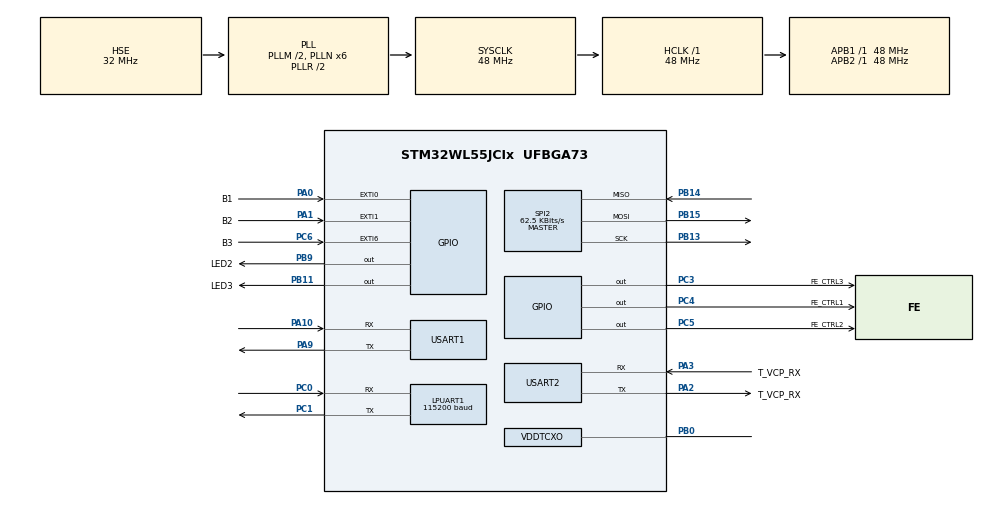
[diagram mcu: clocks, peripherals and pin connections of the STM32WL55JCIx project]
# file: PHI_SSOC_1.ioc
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ADC.Channel-0\#ChannelRegularConversion=ADC_CHANNEL_TEMPSENSOR
ADC.EnableRegularConversion=ENABLE
ADC.NbrOfConversion=1
ADC.NbrOfConversionFlag=1
ADC.Rank-0\#ChannelRegularConversion=1
ADC.SamplingTime-0\#ChannelRegularConversion=ADC_SAMPLINGTIME_COMMON_1
ADC.SamplingTimeCommon1=ADC_SAMPLETIME_160CYCLES_5
ADC.SelectedChannel=ADC_CHANNEL_TEMPSENSOR
Dma.LPUART1_RX.2.Channel_PRIV_NPRIV=DMA_CHANNEL_NPRIV_DISABLE
Dma.LPUART1_RX.2.Direction=DMA_PERIPH_TO_MEMORY
Dma.LPUART1_RX.2.EventEnable=DISABLE
Dma.LPUART1_RX.2.Instance=DMA1_Channel3
Dma.LPUART1_RX.2.MemDataAlignment=DMA_MDATAALIGN_BYTE
Dma.LPUART1_RX.2.MemInc=DMA_MINC_ENABLE
Dma.LPUART1_RX.2.Mode=DMA_NORMAL
Dma.LPUART1_RX.2.PeriphDataAlignment=DMA_PDATAALIGN_BYTE
Dma.LPUART1_RX.2.PeriphInc=DMA_PINC_DISABLE
Dma.LPUART1_RX.2.Polarity=HAL_DMAMUX_REQ_GEN_RISING
Dma.LPUART1_RX.2.Priority=DMA_PRIORITY_LOW
Dma.LPUART1_RX.2.RequestNumber=1
Dma.LPUART1_RX.2.SignalID=NONE
Dma.LPUART1_RX.2.SyncEnable=DISABLE
Dma.LPUART1_RX.2.SyncPolarity=HAL_DMAMUX_SYNC_NO_EVENT
Dma.LPUART1_RX.2.SyncRequestNumber=1
Dma.LPUART1_RX.2.SyncSignalID=NONE
Dma.LPUART1_TX.3.Channel_PRIV_NPRIV=DMA_CHANNEL_NPRIV_DISABLE
Dma.LPUART1_TX.3.Direction=DMA_MEMORY_TO_PERIPH
Dma.LPUART1_TX.3.EventEnable=DISABLE
Dma.LPUART1_TX.3.Instance=DMA1_Channel4
Dma.LPUART1_TX.3.MemDataAlignment=DMA_MDATAALIGN_BYTE
Dma.LPUART1_TX.3.MemInc=DMA_MINC_ENABLE
Dma.LPUART1_TX.3.Mode=DMA_NORMAL
Dma.LPUART1_TX.3.PeriphDataAlignment=DMA_PDATAALIGN_BYTE
Dma.LPUART1_TX.3.PeriphInc=DMA_PINC_DISABLE
Dma.LPUART1_TX.3.Polarity=HAL_DMAMUX_REQ_GEN_RISING
Dma.LPUART1_TX.3.Priority=DMA_PRIORITY_LOW
Dma.LPUART1_TX.3.RequestNumber=1
Dma.LPUART1_TX.3.SignalID=NONE
Dma.LPUART1_TX.3.SyncEnable=DISABLE
Dma.LPUART1_TX.3.SyncPolarity=HAL_DMAMUX_SYNC_NO_EVENT
Dma.LPUART1_TX.3.SyncRequestNumber=1
Dma.LPUART1_TX.3.SyncSignalID=NONE
Dma.Request0=USART1_RX
Dma.Request1=USART1_TX
Dma.Request2=LPUART1_RX
Dma.Request3=LPUART1_TX
Dma.USART1_RX.0.Channel_PRIV_NPRIV=DMA_CHANNEL_NPRIV_DISABLE
Dma.USART1_RX.0.Direction=DMA_PERIPH_TO_MEMORY
Dma.USART1_RX.0.EventEnable=DISABLE
Dma.USART1_RX.0.Instance=DMA1_Channel1
Dma.USART1_RX.0.MemDataAlignment=DMA_MDATAALIGN_BYTE
Dma.USART1_RX.0.MemInc=DMA_MINC_ENABLE
Dma.USART1_RX.0.Mode=DMA_NORMAL
Dma.USART1_RX.0.PeriphDataAlignment=DMA_PDATAALIGN_BYTE
Dma.USART1_RX.0.PeriphInc=DMA_PINC_DISABLE
Dma.USART1_RX.0.Polarity=HAL_DMAMUX_REQ_GEN_RISING
Dma.USART1_RX.0.Priority=DMA_PRIORITY_LOW
Dma.USART1_RX.0.RequestNumber=1
Dma.USART1_RX.0.SignalID=NONE
Dma.USART1_RX.0.SyncEnable=DISABLE
Dma.USART1_RX.0.SyncPolarity=HAL_DMAMUX_SYNC_NO_EVENT
Dma.USART1_RX.0.SyncRequestNumber=1
Dma.USART1_RX.0.SyncSignalID=NONE
Dma.USART1_TX.1.Channel_PRIV_NPRIV=DMA_CHANNEL_NPRIV_DISABLE
Dma.USART1_TX.1.Direction=DMA_MEMORY_TO_PERIPH
Dma.USART1_TX.1.EventEnable=DISABLE
Dma.USART1_TX.1.Instance=DMA1_Channel2
Dma.USART1_TX.1.MemDataAlignment=DMA_MDATAALIGN_BYTE
Dma.USART1_TX.1.MemInc=DMA_MINC_ENABLE
Dma.USART1_TX.1.Mode=DMA_NORMAL
Dma.USART1_TX.1.PeriphDataAlignment=DMA_PDATAALIGN_BYTE
Dma.USART1_TX.1.PeriphInc=DMA_PINC_DISABLE
Dma.USART1_TX.1.Polarity=HAL_DMAMUX_REQ_GEN_RISING
Dma.USART1_TX.1.Priority=DMA_PRIORITY_LOW
Dma.USART1_TX.1.RequestNumber=1
Dma.USART1_TX.1.SignalID=NONE
Dma.USART1_TX.1.SyncEnable=DISABLE
Dma.USART1_TX.1.SyncPolarity=HAL_DMAMUX_SYNC_NO_EVENT
Dma.USART1_TX.1.SyncRequestNumber=1
Dma.USART1_TX.1.SyncSignalID=NONE
LPUART1.BaudRate=115200
Mcu.Family=STM32WL
Mcu.Name=STM32WL55JCIx
Mcu.Package=UFBGA73
NVIC.DMA1_Channel1_IRQn=true\:0\:0\:false\:false\:true\:false\:true\:true
NVIC.DMA1_Channel2_IRQn=true\:0\:0\:false\:false\:true\:false\:true\:true
NVIC.DMA1_Channel3_IRQn=true\:0\:0\:false\:false\:true\:false\:true\:true
NVIC.DMA1_Channel4_IRQn=true\:0\:0\:false\:false\:true\:false\:true\:true
NVIC.LPUART1_IRQn=true\:0\:0\:false\:false\:true\:true\:true\:true
NVIC.PriorityGroup=NVIC_PRIORITYGROUP_4
NVIC.SUBGHZ_Radio_IRQn=true\:0\:0\:false\:false\:true\:true\:true\:true
NVIC.USART1_IRQn=true\:0\:0\:false\:false\:true\:true\:true\:true
OSC_IN.Mode=HSE-TCXO
OSC_IN.Signal=RCC_OSC_IN
PA0.GPIO_Label=B1
PA0.GPIO_ModeDefaultEXTI=GPIO_MODE_IT_FALLING
PA0.GPIO_PuPd=GPIO_PULLUP
PA0.Signal=GPXTI0
PA1.GPIO_Label=B2
PA1.GPIO_ModeDefaultEXTI=GPIO_MODE_IT_FALLING
PA1.GPIO_PuPd=GPIO_PULLUP
PA1.Signal=GPXTI1
PA10.Mode=Asynchronous
PA10.Signal=USART1_RX
PA13.Mode=Serial_Wire
PA13.Signal=DEBUG_JTMS-SWDIO
PA14.Mode=Serial_Wire
PA14.Signal=DEBUG_JTCK-SWCLK
PA2.GPIO_Label=T_VCP_RX
PA2.Mode=Asynchronous
PA2.Signal=USART2_TX
PA3.GPIO_Label=T_VCP_RX
PA3.Mode=Asynchronous
PA3.Signal=USART2_RX
PA9.Mode=Asynchronous
PA9.Signal=USART1_TX
PB0-VDD_TCXO.Mode=HSE-TCXO
PB0-VDD_TCXO.Signal=VDDTCXO
PB11.GPIO_Label=LED3
PB11.GPIO_Speed=GPIO_SPEED_FREQ_HIGH
PB11.Signal=GPIO_Output
PB13.Mode=Full_Duplex_Master
PB13.Signal=SPI2_SCK
PB14.Mode=Full_Duplex_Master
PB14.Signal=SPI2_MISO
PB15.Mode=Full_Duplex_Master
PB15.Signal=SPI2_MOSI
PB9.GPIO_FM9=__NULL
PB9.GPIO_Label=LED2
PB9.GPIO_Speed=GPIO_SPEED_FREQ_HIGH
PB9.Signal=GPIO_Output
PC0.Mode=Asynchronous
PC0.Signal=LPUART1_RX
PC1.Mode=Asynchronous
PC1.Signal=LPUART1_TX
PC14-OSC32_IN.Signal=RCC_OSC32_IN
PC15-OSC32_OUT.Signal=RCC_OSC32_OUT
PC3.GPIO_Label=FE_CTRL3
PC3.GPIO_Speed=GPIO_SPEED_FREQ_VERY_HIGH
PC3.Signal=GPIO_Output
PC4.GPIO_Label=FE_CTRL1
PC4.GPIO_Speed=GPIO_SPEED_FREQ_VERY_HIGH
PC4.Signal=GPIO_Output
PC5.GPIO_Label=FE_CTRL2
PC5.GPIO_Speed=GPIO_SPEED_FREQ_VERY_HIGH
PC5.Signal=GPIO_Output
PC6.GPIO_Label=B3
PC6.GPIO_ModeDefaultEXTI=GPIO_MODE_IT_FALLING
PC6.GPIO_PuPd=GPIO_PULLUP
PC6.Signal=GPXTI6
ProjectManager.HeapSize=0x200
ProjectManager.StackSize=0x400
ProjectManager.TargetToolchain=STM32CubeIDE
RCC.AHBFreq_Value=48000000
RCC.APB1Freq_Value=48000000
RCC.APB1TimFreq_Value=48000000
RCC.APB2Freq_Value=48000000
RCC.APB2TimFreq_Value=48000000
RCC.APB3Freq_Value=48000000
RCC.CortexFreq_Value=48000000
RCC.HCLKFreq_Value=48000000
RCC.HSE_VALUE=32000000
RCC.HSI_VALUE=16000000
RCC.LSE_VALUE=32768
RCC.MSIClockRange=RCC_MSIRANGE_11
RCC.PLLM=RCC_PLLM_DIV2
RCC.PLLN=6
RCC.PLLSourceVirtual=RCC_PLLSOURCE_HSE
RCC.SYSCLKFreq_VALUE=48000000
RCC.SYSCLKSource=RCC_SYSCLKSOURCE_PLLCLK
RCC.VCOOutputFreq_Value=96000000
SPI2.BaudRatePrescaler=SPI_BAUDRATEPRESCALER_256
SPI2.CalculateBaudRate=62.5 KBits/s
SPI2.DataSize=SPI_DATASIZE_8BIT
SPI2.Direction=SPI_DIRECTION_2LINES
SPI2.Mode=SPI_MODE_MASTER
SPI2.VirtualType=VM_MASTER
TIM1.Period=1000-1
TIM1.Prescaler=48-1
USART1.VirtualMode-Asynchronous=VM_ASYNC
USART2.VirtualMode-Asynchronous=VM_ASYNC
VP_ADC_TempSens_Input.Mode=IN-TempSens
VP_ADV_TRACE_VS_ADV_TRACE.Mode=ADV_TRACE_Enabled
VP_MISC_VS_MISC.Mode=MISC_Enabled
VP_RTC_VS_RTC_Activate.Mode=RTC_Enabled
VP_RTC_VS_RTC_Calendar.Mode=RTC_Calendar
VP_SEQUENCER_M4_VS_SEQUENCER.Mode=SEQUENCER_Enabled
VP_SUBGHZ_PHY_VS_SubGhzPhy.Mode=SubGhzPhy_Enabled
VP_SUBGHZ_VS_SUBGHZ.Mode=SUBGHZ_Activate
VP_TIM1_VS_ClockSourceINT.Mode=Internal
VP_TIMER_VS_TIMER.Mode=TIMER_Enabled
VP_TINY_LPM_VS_TINY_LPM.Mode=TINY_LPM_Enabled
board=NUCLEO-WL55JC2

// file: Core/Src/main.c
/* USER CODE BEGIN Header */
/**
 ******************************************************************************
 * @file           : main.c
 * @brief          : Main program body
 ******************************************************************************
 * @attention
 *
 * Copyright (c) 2024 STMicroelectronics.
 * All rights reserved.
 *
 * This software is licensed under terms that can be found in the LICENSE file
 * in the root directory of this software component.
 * If no LICENSE file comes with this software, it is provided AS-IS.
 *
 ******************************************************************************
 */
/* USER CODE END Header */
#include "main.h"
#include "app_subghz_phy.h"

/* USER CODE BEGIN Includes */
#include "radio_driver.h"
#include "com_debug.h"
#include "obc_interface.h"
#include "rtc.h"
#include "adc.h"
#include "flash_memory.h"
/* USER CODE END Includes */

/* USER CODE BEGIN PTD */
#define PayLoadLength		(32)

#define FREQ_433_MHZ            (433000000)

#define PA_DUTY_CYCLE           (0x04)
#define HP_MAX                  (0x07)
#define PA_SEL                  (0x00)

#define POWER                   (0x16)
#define RAMP_TIME               (0x06)
/* USER CODE END PTD */

ADC_HandleTypeDef hadc;

UART_HandleTypeDef hlpuart1;
UART_HandleTypeDef huart1;
UART_HandleTypeDef huart2;
DMA_HandleTypeDef hdma_lpuart1_rx;
DMA_HandleTypeDef hdma_lpuart1_tx;
DMA_HandleTypeDef hdma_usart1_rx;
DMA_HandleTypeDef hdma_usart1_tx;

RTC_HandleTypeDef hrtc;

SPI_HandleTypeDef hspi2;

SUBGHZ_HandleTypeDef hsubghz;

TIM_HandleTypeDef htim1;

/* USER CODE BEGIN PV */
uint8_t OBC_HANDSHAKE_FLAG = 0;

uint8_t pkt_id;
DEVICE_ID FM_ID;
uint32_t present_address;

uint8_t txBuffer[PayLoadLength];
uint8_t rxData[PayLoadLength];

uint32_t NACK = 0xFAACEEF;
uint32_t MSN_CMP = 0xFACACAAF;

uint8_t END_MSN[10];
uint8_t MSN_ERR[10];
/* USER CODE END PV */

void SystemClock_Config(void);
static void MX_GPIO_Init(void);
static void MX_DMA_Init(void);
static void MX_USART2_UART_Init(void);
static void MX_USART1_UART_Init(void);
static void MX_TIM1_Init(void);
static void MX_LPUART1_UART_Init(void);
static void MX_RTC_Init(void);
static void MX_ADC_Init(void);
static void MX_SPI2_Init(void);
/* USER CODE BEGIN PFP */
void setDataToBeTransmitted();
void DioIrqHndlr(RadioIrqMasks_t radioIrq);
void EOM();
void MSN_Error();
/* USER CODE END PFP */

/* USER CODE BEGIN 0 */
void setDataToBeTransmitted() {
	uint8_t temp_count = 0;
	uint8_t temp_sensor[30];

	setTime(MAIN_CMD[8], MAIN_CMD[9], MAIN_CMD[10], MAIN_CMD[11], MAIN_CMD[12],
			MAIN_CMD[13]);

	while (temp_count < 30) {
		if (ReadTemperature() > 0)
			temp_sensor[temp_count] = ReadTemperature();
		delay_us(10);
		temp_count++;
	}

	getTime();

	txBuffer[0] = 0xBA;
	txBuffer[1] = 0x01;
	txBuffer[2] = pkt_id;
	txBuffer[3] = gDate.Year;
	txBuffer[4] = gDate.Month;
	txBuffer[5] = gDate.WeekDay;
	txBuffer[6] = gTime.Hours;
	txBuffer[7] = gTime.Minutes;
	txBuffer[8] = gTime.Seconds;
	int j = 0;
	for (int i = 9; i <= 28; i += 2) {
		txBuffer[i] = 0xDA;
		txBuffer[i + 1] = temp_sensor[j];
		j++;
	}
	uint16_t _HK_SUM = 0;
	for (int i = 0; i <= 28; i++) {
		_HK_SUM += txBuffer[i];
	}
	txBuffer[29] = _HK_SUM >> 8;
	txBuffer[30] = _HK_SUM;
	txBuffer[31] = 0xFE;
	myDebug("### Data to be transmitted:\n");
	for (int i = 0; i < PayLoadLength; i++) {
		myDebug("%x ", txBuffer[i]);
	}
	myDebug("\n");
}

void EOM() {
	//add ACK and Latest mission FM address
	END_MSN[0] = 0xBA;
	END_MSN[1] = MSN_CMP >> 24;
	END_MSN[2] = MSN_CMP >> 16;

	END_MSN[3] = MSN_CMP >> 8;

	END_MSN[4] = MSN_CMP;

	//SEND NEW FM ADDRESS;
	END_MSN[5] = MAIN_ADDR >> 24;
	END_MSN[6] = MAIN_ADDR >> 16;
	END_MSN[7] = MAIN_ADDR >> 8;
	END_MSN[8] = MAIN_ADDR;
	END_MSN[9] = 0xFE;

	// END of Mission
	HAL_UART_Transmit(&huart1, END_MSN, 10, 1000);
	myDebug("### Sent End of mission data: ");
	for (int i = 0; i < 10; i++) {
		myDebug("%x", END_MSN[i]);
	}
	myDebug("\n");
	myDebug("--> LoRa_Mission_Execution Complete and Packet count is %x\r\n",
			pkt_id);
	memset(END_MSN, '\0', 10);
}

void MSN_Error() {
	MSN_ERR[0] = 0xBA;
	MSN_ERR[1] = NACK >> 24;
	MSN_ERR[2] = NACK >> 16;

	MSN_ERR[3] = NACK >> 8;

	MSN_ERR[4] = NACK;

//SEND NEW FM ADDRESS;
	MSN_ERR[5] = MAIN_ADDR >> 24;
	MSN_ERR[6] = MAIN_ADDR >> 16;
	MSN_ERR[7] = MAIN_ADDR >> 8;
	MSN_ERR[8] = MAIN_ADDR;
	MSN_ERR[9] = 0xFE;

// Error of Mission
	myDebug("###  Mission error occurred! ");
	HAL_UART_Transmit(&huart1, MSN_ERR, 10, 1000);
	myDebug("### Sent Mission error data: ");
	for (int i = 0; i < 10; i++) {
		myDebug("%x", MSN_ERR[i]);
	}
	myDebug("\n");
	myDebug("#### MAIN and LoRa MCU ACK FAILED___ Please RESET #### \n ");
	memset(MSN_ERR, '\0', 10);
}

void HAL_UART_RxCpltCallback(UART_HandleTypeDef *huart) {
	if (huart == &hlpuart1) {

		uint16_t _HK_SUM_Check = 0;
		for (int i = 0; i <= 28; i++) {
			_HK_SUM_Check += rxData[i];
		}

		uint8_t crc[2];
		crc[0] = _HK_SUM_Check >> 8;
		crc[1] = _HK_SUM_Check;

		if (crc[0] == txBuffer[29] && crc[1] == txBuffer[30]) {
			Read_ID(&hspi2, &FM_ID);
			delay_us(1);

			present_address = MAIN_ADDR;

			myDebug("### Storing HK Data in : 0x%x \n", present_address);
			Page_Write(&hspi2, present_address, txBuffer, PayLoadLength);
			delay_us(1);
			myDebug("### Checking if data is stored or not, in : 0x%x \n",
					present_address);
			myDebug("--> Stored Data : \n");
			Bulk_Read(&hspi2, present_address, rxData, PayLoadLength);
			delay_us(1);
			for (int i = 0; i < PayLoadLength; i++) {
				myDebug("%x ", rxData[i]);
			}
			myDebug("\n");
			MAIN_ADDR += 32;
			pkt_id++;
			EOM();
			memset(txBuffer, '\0', PayLoadLength);
			memset(rxData, '\0', PayLoadLength);
			memset(MAIN_CMD, '\0', 15);
			delay_us(999);
			delay_us(999);
		} else {
			myDebug("### Data error occurred:\n");
			for (int i = 0; i < PayLoadLength; i++) {
				myDebug("%x ", rxData[i]);
			}
			myDebug("\n");
			Error_Handler();
		}
	}
}
/* USER CODE END 0 */

int main(void)
{

  /* MCU Configuration--------------------------------------------------------*/

  /* Reset of all peripherals, Initializes the Flash interface and the Systick. */
  HAL_Init();

  /* Configure the system clock */
  SystemClock_Config();

  /* Initialize all configured peripherals */
  MX_GPIO_Init();
  MX_DMA_Init();
  MX_USART2_UART_Init();
  MX_SubGHz_Phy_Init();
  MX_USART1_UART_Init();
  MX_TIM1_Init();
  MX_LPUART1_UART_Init();
  MX_RTC_Init();
  MX_ADC_Init();
  MX_SPI2_Init();
  /* USER CODE BEGIN 2 */

	HAL_TIM_Base_Start(&htim1);

	myDebug("\n########## Wait for Handshake ##########\r\n");
	while (OBC_HANDSHAKE_FLAG == 0) {
		WAIT_FOR_HANDSHAKE();
	}

	myDebug("__________LoRa Starting.......###\r\n\n");
	pkt_id = 0;

  /* USER CODE END 2 */

  /* Infinite loop */
	while (1) {
    MX_SubGHz_Phy_Process();

    /* USER CODE BEGIN 3 */

		if (OBC_HANDSHAKE_FLAG == 1) {
			myDebug("### Waiting to receive CMD from OBC.....\n");
			Receive_MAIN_CMD();
			delay_us(1);
			Execute_MAIN_CMD();
			delay_us(1);
			myDebug("--> MCU_ID: 0x%x\n", MCU_ID);
			myDebug("--> Flash address: 0x%x\n", MAIN_ADDR);
			myDebug("--> Mission Time %d/%d/%d %d:%d:%d \n", MAIN_CMD[8],
					MAIN_CMD[9], MAIN_CMD[10], MAIN_CMD[11], MAIN_CMD[12],
					MAIN_CMD[13]);

			setDataToBeTransmitted();

			PacketParams_t pkt_params;
			pkt_params.PacketType = PACKET_TYPE_LORA;
			pkt_params.Params.LoRa.PayloadLength = PayLoadLength;
			pkt_params.Params.LoRa.PreambleLength = 8;
			pkt_params.Params.LoRa.HeaderType = LORA_PACKET_IMPLICIT;
			pkt_params.Params.LoRa.CrcMode = LORA_CRC_ON;
			pkt_params.Params.LoRa.InvertIQ = LORA_IQ_NORMAL;

			ModulationParams_t mod_params;
			mod_params.PacketType = PACKET_TYPE_LORA;
			mod_params.Params.LoRa.Bandwidth = LORA_BW_031;
			mod_params.Params.LoRa.SpreadingFactor = LORA_SF10;
			mod_params.Params.LoRa.CodingRate = LORA_CR_4_8;
			mod_params.Params.LoRa.LowDatarateOptimize = 0;

			SUBGRF_Init(DioIrqHndlr);
			SUBGRF_SetBufferBaseAddress(0x00, 0x00);
			SUBGRF_SetPayload(txBuffer, PayLoadLength);
			SUBGRF_SetPacketParams(&pkt_params);
			SUBGRF_SetSyncWord(( uint8_t[] ) { 0xC1, 0x94, 0xC1, 0x00, 0x00,
							0x00, 0x00, 0x00 });
			SUBGRF_SetWhiteningSeed(0x01FF);
			SUBGRF_SetRfFrequency(FREQ_433_MHZ);
			SUBGRF_SetPaConfig(PA_DUTY_CYCLE, HP_MAX, PA_SEL, 0x01);
			SUBGRF_SetTxParams(RFO_HP, POWER, RAMP_TIME);
			SUBGRF_SetModulationParams(&mod_params);
			SUBGRF_SetDioIrqParams(
					IRQ_TX_DONE | IRQ_PREAMBLE_DETECTED | IRQ_RX_DONE
							| IRQ_RX_TX_TIMEOUT | IRQ_SYNCWORD_VALID,
					IRQ_TX_DONE | IRQ_PREAMBLE_DETECTED | IRQ_RX_DONE
							| IRQ_RX_TX_TIMEOUT | IRQ_SYNCWORD_VALID,
					IRQ_RADIO_NONE, IRQ_RADIO_NONE);

			myDebug("########## COMMUNICATION PARAMETERS: 		##########\r\n");
			myDebug("Modulation: LoRa PACKET\r\n");
			myDebug("FREQUENCY : %lu\r\n", FREQ_433_MHZ);
			myDebug(
					"POWER CONFIG:\r\n    PA_DUTY_CYCLE : %x,    HP_MAX: %x,\n\r    PA_SEL : %x,    POWER TX: %u dBm\n\r",
					PA_DUTY_CYCLE, HP_MAX, PA_SEL, POWER);
			myDebug("RECEVING BANDWIDTH: 	%d\n\r",
					mod_params.Params.LoRa.Bandwidth);
			myDebug("Packet Type: 			%d\n\r", pkt_params.PacketType);
			myDebug("PayloadLength: 		%d\n\r",
					pkt_params.Params.LoRa.PayloadLength);
			myDebug("PreambleLength: 		%d\n\r",
					pkt_params.Params.LoRa.PreambleLength);
			myDebug("HeaderType: 			%d\n\r", pkt_params.Params.LoRa.HeaderType);
			myDebug("__________________________________________________\r\n");
			myDebug(
					"________________LoRa Transmitting to SSOC_2____________\r\n");

			SUBGRF_SetRfFrequency(FREQ_433_MHZ);
			SUBGRF_SetSwitch(RFO_HP, RFSWITCH_TX); /*Set RF switch*/
			SUBGRF_SendPayload(txBuffer, 32, 0);
		}

	}
  /* USER CODE END 3 */
}

void SystemClock_Config(void)
{
  RCC_OscInitTypeDef RCC_OscInitStruct = {0};
  RCC_ClkInitTypeDef RCC_ClkInitStruct = {0};

  /** Configure the main internal regulator output voltage
  */
  __HAL_PWR_VOLTAGESCALING_CONFIG(PWR_REGULATOR_VOLTAGE_SCALE1);

  /** Initializes the CPU, AHB and APB buses clocks
  */
  RCC_OscInitStruct.OscillatorType = RCC_OSCILLATORTYPE_HSI|RCC_OSCILLATORTYPE_LSI
                              |RCC_OSCILLATORTYPE_HSE;
  RCC_OscInitStruct.HSEState = RCC_HSE_BYPASS_PWR;
  RCC_OscInitStruct.HSIState = RCC_HSI_ON;
  RCC_OscInitStruct.HSICalibrationValue = RCC_HSICALIBRATION_DEFAULT;
  RCC_OscInitStruct.LSIDiv = RCC_LSI_DIV1;
  RCC_OscInitStruct.HSEDiv = RCC_HSE_DIV1;
  RCC_OscInitStruct.LSIState = RCC_LSI_ON;
  RCC_OscInitStruct.PLL.PLLState = RCC_PLL_ON;
  RCC_OscInitStruct.PLL.PLLSource = RCC_PLLSOURCE_HSE;
  RCC_OscInitStruct.PLL.PLLM = RCC_PLLM_DIV2;
  RCC_OscInitStruct.PLL.PLLN = 6;
  RCC_OscInitStruct.PLL.PLLP = RCC_PLLP_DIV2;
  RCC_OscInitStruct.PLL.PLLR = RCC_PLLR_DIV2;
  RCC_OscInitStruct.PLL.PLLQ = RCC_PLLQ_DIV2;
  if (HAL_RCC_OscConfig(&RCC_OscInitStruct) != HAL_OK)
  {
    Error_Handler();
  }

  /** Configure the SYSCLKSource, HCLK, PCLK1 and PCLK2 clocks dividers
  */
  RCC_ClkInitStruct.ClockType = RCC_CLOCKTYPE_HCLK3|RCC_CLOCKTYPE_HCLK
                              |RCC_CLOCKTYPE_SYSCLK|RCC_CLOCKTYPE_PCLK1
                              |RCC_CLOCKTYPE_PCLK2;
  RCC_ClkInitStruct.SYSCLKSource = RCC_SYSCLKSOURCE_PLLCLK;
  RCC_ClkInitStruct.AHBCLKDivider = RCC_SYSCLK_DIV1;
  RCC_ClkInitStruct.APB1CLKDivider = RCC_HCLK_DIV1;
  RCC_ClkInitStruct.APB2CLKDivider = RCC_HCLK_DIV1;
  RCC_ClkInitStruct.AHBCLK3Divider = RCC_SYSCLK_DIV1;

  if (HAL_RCC_ClockConfig(&RCC_ClkInitStruct, FLASH_LATENCY_2) != HAL_OK)
  {
    Error_Handler();
  }
}

static void MX_ADC_Init(void)
{

  ADC_ChannelConfTypeDef sConfig = {0};

  /** Configure the global features of the ADC (Clock, Resolution, Data Alignment and number of conversion)
  */
  hadc.Instance = ADC;
  hadc.Init.ClockPrescaler = ADC_CLOCK_SYNC_PCLK_DIV2;
  hadc.Init.Resolution = ADC_RESOLUTION_12B;
  hadc.Init.DataAlign = ADC_DATAALIGN_RIGHT;
  hadc.Init.ScanConvMode = ADC_SCAN_DISABLE;
  hadc.Init.EOCSelection = ADC_EOC_SINGLE_CONV;
  hadc.Init.LowPowerAutoWait = DISABLE;
  hadc.Init.LowPowerAutoPowerOff = DISABLE;
  hadc.Init.ContinuousConvMode = DISABLE;
  hadc.Init.NbrOfConversion = 1;
  hadc.Init.DiscontinuousConvMode = DISABLE;
  hadc.Init.ExternalTrigConv = ADC_SOFTWARE_START;
  hadc.Init.ExternalTrigConvEdge = ADC_EXTERNALTRIGCONVEDGE_NONE;
  hadc.Init.DMAContinuousRequests = DISABLE;
  hadc.Init.Overrun = ADC_OVR_DATA_PRESERVED;
  hadc.Init.SamplingTimeCommon1 = ADC_SAMPLETIME_160CYCLES_5;
  hadc.Init.SamplingTimeCommon2 = ADC_SAMPLETIME_1CYCLE_5;
  hadc.Init.OversamplingMode = DISABLE;
  hadc.Init.TriggerFrequencyMode = ADC_TRIGGER_FREQ_HIGH;
  if (HAL_ADC_Init(&hadc) != HAL_OK)
  {
    Error_Handler();
  }

  /** Configure Regular Channel
  */
  sConfig.Channel = ADC_CHANNEL_TEMPSENSOR;
  sConfig.Rank = ADC_REGULAR_RANK_1;
  sConfig.SamplingTime = ADC_SAMPLINGTIME_COMMON_1;
  if (HAL_ADC_ConfigChannel(&hadc, &sConfig) != HAL_OK)
  {
    Error_Handler();
  }

}

static void MX_LPUART1_UART_Init(void)
{

  hlpuart1.Instance = LPUART1;
  hlpuart1.Init.BaudRate = 115200;
  hlpuart1.Init.WordLength = UART_WORDLENGTH_8B;
  hlpuart1.Init.StopBits = UART_STOPBITS_1;
  hlpuart1.Init.Parity = UART_PARITY_NONE;
  hlpuart1.Init.Mode = UART_MODE_TX_RX;
  hlpuart1.Init.HwFlowCtl = UART_HWCONTROL_NONE;
  hlpuart1.Init.OneBitSampling = UART_ONE_BIT_SAMPLE_DISABLE;
  hlpuart1.Init.ClockPrescaler = UART_PRESCALER_DIV1;
  hlpuart1.AdvancedInit.AdvFeatureInit = UART_ADVFEATURE_NO_INIT;
  hlpuart1.FifoMode = UART_FIFOMODE_DISABLE;
  if (HAL_UART_Init(&hlpuart1) != HAL_OK)
  {
    Error_Handler();
  }
  if (HAL_UARTEx_SetTxFifoThreshold(&hlpuart1, UART_TXFIFO_THRESHOLD_1_8) != HAL_OK)
  {
    Error_Handler();
  }
  if (HAL_UARTEx_SetRxFifoThreshold(&hlpuart1, UART_RXFIFO_THRESHOLD_1_8) != HAL_OK)
  {
    Error_Handler();
  }
  if (HAL_UARTEx_DisableFifoMode(&hlpuart1) != HAL_OK)
  {
    Error_Handler();
  }

}

static void MX_USART1_UART_Init(void)
{

  huart1.Instance = USART1;
  huart1.Init.BaudRate = 115200;
  huart1.Init.WordLength = UART_WORDLENGTH_8B;
  huart1.Init.StopBits = UART_STOPBITS_1;
  huart1.Init.Parity = UART_PARITY_NONE;
  huart1.Init.Mode = UART_MODE_TX_RX;
  huart1.Init.HwFlowCtl = UART_HWCONTROL_NONE;
  huart1.Init.OverSampling = UART_OVERSAMPLING_16;
  huart1.Init.OneBitSampling = UART_ONE_BIT_SAMPLE_DISABLE;
  huart1.Init.ClockPrescaler = UART_PRESCALER_DIV1;
  huart1.AdvancedInit.AdvFeatureInit = UART_ADVFEATURE_NO_INIT;
  if (HAL_UART_Init(&huart1) != HAL_OK)
  {
    Error_Handler();
  }
  if (HAL_UARTEx_SetTxFifoThreshold(&huart1, UART_TXFIFO_THRESHOLD_1_8) != HAL_OK)
  {
    Error_Handler();
  }
  if (HAL_UARTEx_SetRxFifoThreshold(&huart1, UART_RXFIFO_THRESHOLD_1_8) != HAL_OK)
  {
    Error_Handler();
  }
  if (HAL_UARTEx_DisableFifoMode(&huart1) != HAL_OK)
  {
    Error_Handler();
  }

}

static void MX_USART2_UART_Init(void)
{

  huart2.Instance = USART2;
  huart2.Init.BaudRate = 115200;
  huart2.Init.WordLength = UART_WORDLENGTH_8B;
  huart2.Init.StopBits = UART_STOPBITS_1;
  huart2.Init.Parity = UART_PARITY_NONE;
  huart2.Init.Mode = UART_MODE_TX_RX;
  huart2.Init.HwFlowCtl = UART_HWCONTROL_NONE;
  huart2.Init.OverSampling = UART_OVERSAMPLING_16;
  huart2.Init.OneBitSampling = UART_ONE_BIT_SAMPLE_DISABLE;
  huart2.Init.ClockPrescaler = UART_PRESCALER_DIV1;
  huart2.AdvancedInit.AdvFeatureInit = UART_ADVFEATURE_NO_INIT;
  if (HAL_UART_Init(&huart2) != HAL_OK)
  {
    Error_Handler();
  }
  if (HAL_UARTEx_SetTxFifoThreshold(&huart2, UART_TXFIFO_THRESHOLD_1_8) != HAL_OK)
  {
    Error_Handler();
  }
  if (HAL_UARTEx_SetRxFifoThreshold(&huart2, UART_RXFIFO_THRESHOLD_1_8) != HAL_OK)
  {
    Error_Handler();
  }
  if (HAL_UARTEx_DisableFifoMode(&huart2) != HAL_OK)
  {
    Error_Handler();
  }

}

static void MX_RTC_Init(void)
{

  RTC_TimeTypeDef sTime = {0};
  RTC_DateTypeDef sDate = {0};

  /** Initialize RTC Only
  */
  hrtc.Instance = RTC;
  hrtc.Init.HourFormat = RTC_HOURFORMAT_24;
  hrtc.Init.AsynchPrediv = 127;
  hrtc.Init.SynchPrediv = 255;
  hrtc.Init.OutPut = RTC_OUTPUT_DISABLE;
  hrtc.Init.OutPutRemap = RTC_OUTPUT_REMAP_NONE;
  hrtc.Init.OutPutPolarity = RTC_OUTPUT_POLARITY_HIGH;
  hrtc.Init.OutPutType = RTC_OUTPUT_TYPE_OPENDRAIN;
  hrtc.Init.OutPutPullUp = RTC_OUTPUT_PULLUP_NONE;
  hrtc.Init.BinMode = RTC_BINARY_NONE;
  if (HAL_RTC_Init(&hrtc) != HAL_OK)
  {
    Error_Handler();
  }

  /** Initialize RTC and set the Time and Date
  */
  sTime.Hours = 0x0;
  sTime.Minutes = 0x0;
  sTime.Seconds = 0x0;
  sTime.DayLightSaving = RTC_DAYLIGHTSAVING_NONE;
  sTime.StoreOperation = RTC_STOREOPERATION_RESET;
  if (HAL_RTC_SetTime(&hrtc, &sTime, RTC_FORMAT_BCD) != HAL_OK)
  {
    Error_Handler();
  }
  sDate.WeekDay = RTC_WEEKDAY_MONDAY;
  sDate.Month = RTC_MONTH_JANUARY;
  sDate.Date = 0x1;
  sDate.Year = 0x0;

  if (HAL_RTC_SetDate(&hrtc, &sDate, RTC_FORMAT_BCD) != HAL_OK)
  {
    Error_Handler();
  }

}

static void MX_SPI2_Init(void)
{

  /* SPI2 parameter configuration*/
  hspi2.Instance = SPI2;
  hspi2.Init.Mode = SPI_MODE_MASTER;
  hspi2.Init.Direction = SPI_DIRECTION_2LINES;
  hspi2.Init.DataSize = SPI_DATASIZE_8BIT;
  hspi2.Init.CLKPolarity = SPI_POLARITY_LOW;
  hspi2.Init.CLKPhase = SPI_PHASE_1EDGE;
  hspi2.Init.NSS = SPI_NSS_SOFT;
  hspi2.Init.BaudRatePrescaler = SPI_BAUDRATEPRESCALER_256;
  hspi2.Init.FirstBit = SPI_FIRSTBIT_MSB;
  hspi2.Init.TIMode = SPI_TIMODE_DISABLE;
  hspi2.Init.CRCCalculation = SPI_CRCCALCULATION_DISABLE;
  hspi2.Init.CRCPolynomial = 7;
  hspi2.Init.CRCLength = SPI_CRC_LENGTH_DATASIZE;
  hspi2.Init.NSSPMode = SPI_NSS_PULSE_ENABLE;
  if (HAL_SPI_Init(&hspi2) != HAL_OK)
  {
    Error_Handler();
  }

}

void MX_SUBGHZ_Init(void)
{

  hsubghz.Init.BaudratePrescaler = SUBGHZSPI_BAUDRATEPRESCALER_8;
  if (HAL_SUBGHZ_Init(&hsubghz) != HAL_OK)
  {
    Error_Handler();
  }

}

static void MX_TIM1_Init(void)
{

  TIM_ClockConfigTypeDef sClockSourceConfig = {0};
  TIM_MasterConfigTypeDef sMasterConfig = {0};

  htim1.Instance = TIM1;
  htim1.Init.Prescaler = 48-1;
  htim1.Init.CounterMode = TIM_COUNTERMODE_UP;
  htim1.Init.Period = 1000-1;
  htim1.Init.ClockDivision = TIM_CLOCKDIVISION_DIV1;
  htim1.Init.RepetitionCounter = 0;
  htim1.Init.AutoReloadPreload = TIM_AUTORELOAD_PRELOAD_DISABLE;
  if (HAL_TIM_Base_Init(&htim1) != HAL_OK)
  {
    Error_Handler();
  }
  sClockSourceConfig.ClockSource = TIM_CLOCKSOURCE_INTERNAL;
  if (HAL_TIM_ConfigClockSource(&htim1, &sClockSourceConfig) != HAL_OK)
  {
    Error_Handler();
  }
  sMasterConfig.MasterOutputTrigger = TIM_TRGO_RESET;
  sMasterConfig.MasterOutputTrigger2 = TIM_TRGO2_RESET;
  sMasterConfig.MasterSlaveMode = TIM_MASTERSLAVEMODE_DISABLE;
  if (HAL_TIMEx_MasterConfigSynchronization(&htim1, &sMasterConfig) != HAL_OK)
  {
    Error_Handler();
  }

}

static void MX_DMA_Init(void)
{

  /* DMA controller clock enable */
  __HAL_RCC_DMAMUX1_CLK_ENABLE();
  __HAL_RCC_DMA1_CLK_ENABLE();

  /* DMA interrupt init */
  /* DMA1_Channel1_IRQn interrupt configuration */
  HAL_NVIC_SetPriority(DMA1_Channel1_IRQn, 0, 0);
  HAL_NVIC_EnableIRQ(DMA1_Channel1_IRQn);
  /* DMA1_Channel2_IRQn interrupt configuration */
  HAL_NVIC_SetPriority(DMA1_Channel2_IRQn, 0, 0);
  HAL_NVIC_EnableIRQ(DMA1_Channel2_IRQn);
  /* DMA1_Channel3_IRQn interrupt configuration */
  HAL_NVIC_SetPriority(DMA1_Channel3_IRQn, 0, 0);
  HAL_NVIC_EnableIRQ(DMA1_Channel3_IRQn);
  /* DMA1_Channel4_IRQn interrupt configuration */
  HAL_NVIC_SetPriority(DMA1_Channel4_IRQn, 0, 0);
  HAL_NVIC_EnableIRQ(DMA1_Channel4_IRQn);

}

static void MX_GPIO_Init(void)
{
  GPIO_InitTypeDef GPIO_InitStruct = {0};

  /* GPIO Ports Clock Enable */
  __HAL_RCC_GPIOA_CLK_ENABLE();
  __HAL_RCC_GPIOB_CLK_ENABLE();
  __HAL_RCC_GPIOC_CLK_ENABLE();

  /*Configure GPIO pin Output Level */
  HAL_GPIO_WritePin(GPIOB, LED2_Pin|LED3_Pin, GPIO_PIN_RESET);

  /*Configure GPIO pin Output Level */
  HAL_GPIO_WritePin(GPIOC, FE_CTRL3_Pin|FE_CTRL2_Pin|FE_CTRL1_Pin, GPIO_PIN_RESET);

  /*Configure GPIO pins : LED2_Pin LED3_Pin */
  GPIO_InitStruct.Pin = LED2_Pin|LED3_Pin;
  GPIO_InitStruct.Mode = GPIO_MODE_OUTPUT_PP;
  GPIO_InitStruct.Pull = GPIO_NOPULL;
  GPIO_InitStruct.Speed = GPIO_SPEED_FREQ_HIGH;
  HAL_GPIO_Init(GPIOB, &GPIO_InitStruct);

  /*Configure GPIO pins : FE_CTRL3_Pin FE_CTRL2_Pin FE_CTRL1_Pin */
  GPIO_InitStruct.Pin = FE_CTRL3_Pin|FE_CTRL2_Pin|FE_CTRL1_Pin;
  GPIO_InitStruct.Mode = GPIO_MODE_OUTPUT_PP;
  GPIO_InitStruct.Pull = GPIO_NOPULL;
  GPIO_InitStruct.Speed = GPIO_SPEED_FREQ_VERY_HIGH;
  HAL_GPIO_Init(GPIOC, &GPIO_InitStruct);

  /*Configure GPIO pins : B1_Pin B2_Pin */
  GPIO_InitStruct.Pin = B1_Pin|B2_Pin;
  GPIO_InitStruct.Mode = GPIO_MODE_IT_FALLING;
  GPIO_InitStruct.Pull = GPIO_PULLUP;
  HAL_GPIO_Init(GPIOA, &GPIO_InitStruct);

  /*Configure GPIO pin : B3_Pin */
  GPIO_InitStruct.Pin = B3_Pin;
  GPIO_InitStruct.Mode = GPIO_MODE_IT_FALLING;
  GPIO_InitStruct.Pull = GPIO_PULLUP;
  HAL_GPIO_Init(B3_GPIO_Port, &GPIO_InitStruct);

}

/* USER CODE BEGIN 4 */
void DioIrqHndlr(RadioIrqMasks_t radioIrq) {
	if (radioIrq == IRQ_TX_DONE) {
		myDebug("\n\r LoRa Transmitted Successful to SSOC_2:  \r");
		for (int i = 0; i < 32; i++) {
			myDebug(" %02x", txBuffer[i]);
		}
		myDebug("\n\n");

		HAL_UART_Receive_DMA(&hlpuart1, rxData, PayLoadLength);
	}
}
/* USER CODE END 4 */

void Error_Handler(void)
{
  /* USER CODE BEGIN Error_Handler_Debug */
	/* User can add his own implementation to report the HAL error return state */
	MSN_Error();
	__disable_irq();
	while (1) {
	}
  /* USER CODE END Error_Handler_Debug */
}
